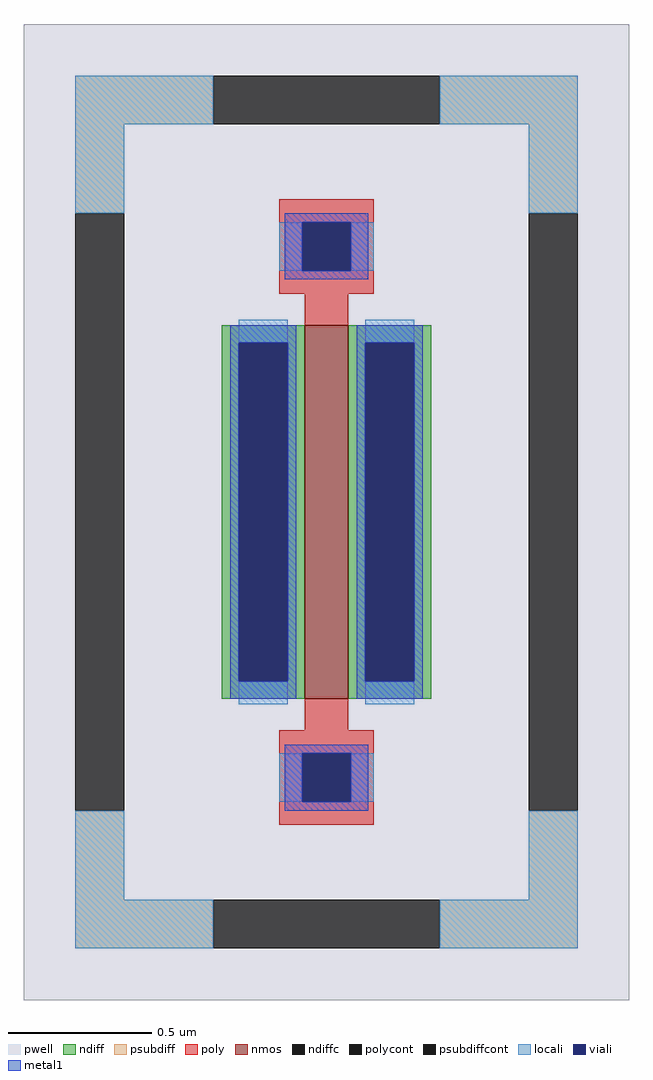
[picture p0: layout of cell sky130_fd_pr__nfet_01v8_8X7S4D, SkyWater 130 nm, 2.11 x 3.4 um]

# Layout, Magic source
magic
tech sky130A
magscale 1 2
<< pwell >>
rect -211 -340 211 340
<< nmos >>
rect -15 -130 15 130
<< ndiff >>
rect -73 118 -15 130
rect -73 -118 -61 118
rect -27 -118 -15 118
rect -73 -130 -15 -118
rect 15 118 73 130
rect 15 -118 27 118
rect 61 -118 73 118
rect 15 -130 73 -118
<< ndiffc >>
rect -61 -118 -27 118
rect 27 -118 61 118
<< psubdiff >>
rect -175 270 -79 304
rect 79 270 175 304
rect -175 208 -141 270
rect 141 208 175 270
rect -175 -270 -141 -208
rect 141 -270 175 -208
rect -175 -304 -79 -270
rect 79 -304 175 -270
<< psubdiffcont >>
rect -79 270 79 304
rect -175 -208 -141 208
rect 141 -208 175 208
rect -79 -304 79 -270
<< poly >>
rect -33 202 33 218
rect -33 168 -17 202
rect 17 168 33 202
rect -33 152 33 168
rect -15 130 15 152
rect -15 -152 15 -130
rect -33 -168 33 -152
rect -33 -202 -17 -168
rect 17 -202 33 -168
rect -33 -218 33 -202
<< polycont >>
rect -17 168 17 202
rect -17 -202 17 -168
<< locali >>
rect -175 270 -79 304
rect 79 270 175 304
rect -175 208 -141 270
rect 141 208 175 270
rect -33 168 -17 202
rect 17 168 33 202
rect -61 118 -27 134
rect -61 -134 -27 -118
rect 27 118 61 134
rect 27 -134 61 -118
rect -33 -202 -17 -168
rect 17 -202 33 -168
rect -175 -270 -141 -208
rect 141 -270 175 -208
rect -175 -304 -79 -270
rect 79 -304 175 -270
<< viali >>
rect -17 168 17 202
rect -61 -118 -27 118
rect 27 -118 61 118
rect -17 -202 17 -168
<< metal1 >>
rect -29 202 29 208
rect -29 168 -17 202
rect 17 168 29 202
rect -29 162 29 168
rect -67 118 -21 130
rect -67 -118 -61 118
rect -27 -118 -21 118
rect -67 -130 -21 -118
rect 21 118 67 130
rect 21 -118 27 118
rect 61 -118 67 118
rect 21 -130 67 -118
rect -29 -168 29 -162
rect -29 -202 -17 -168
rect 17 -202 29 -168
rect -29 -208 29 -202
<< properties >>
string FIXED_BBOX -158 -287 158 287
string gencell sky130_fd_pr__nfet_01v8
string library sky130
string parameters w 1.3 l 0.15 m 1 nf 1 diffcov 100 polycov 100 guard 1 glc 1 grc 1 gtc 1 gbc 1 tbcov 100 rlcov 100 topc 1 botc 1 poverlap 0 doverlap 1 lmin 0.15 wmin 0.42 compatible {sky130_fd_pr__nfet_01v8 sky130_fd_pr__nfet_01v8_lvt  sky130_fd_bs_flash__special_sonosfet_star  sky130_fd_pr__nfet_g5v0d10v5 sky130_fd_pr__nfet_05v0_nvt  sky130_fd_pr__nfet_03v3_nvt} full_metal 1 viasrc 100 viadrn 100 viagate 100 viagb 0 viagr 0 viagl 0 viagt 0
<< end >>
